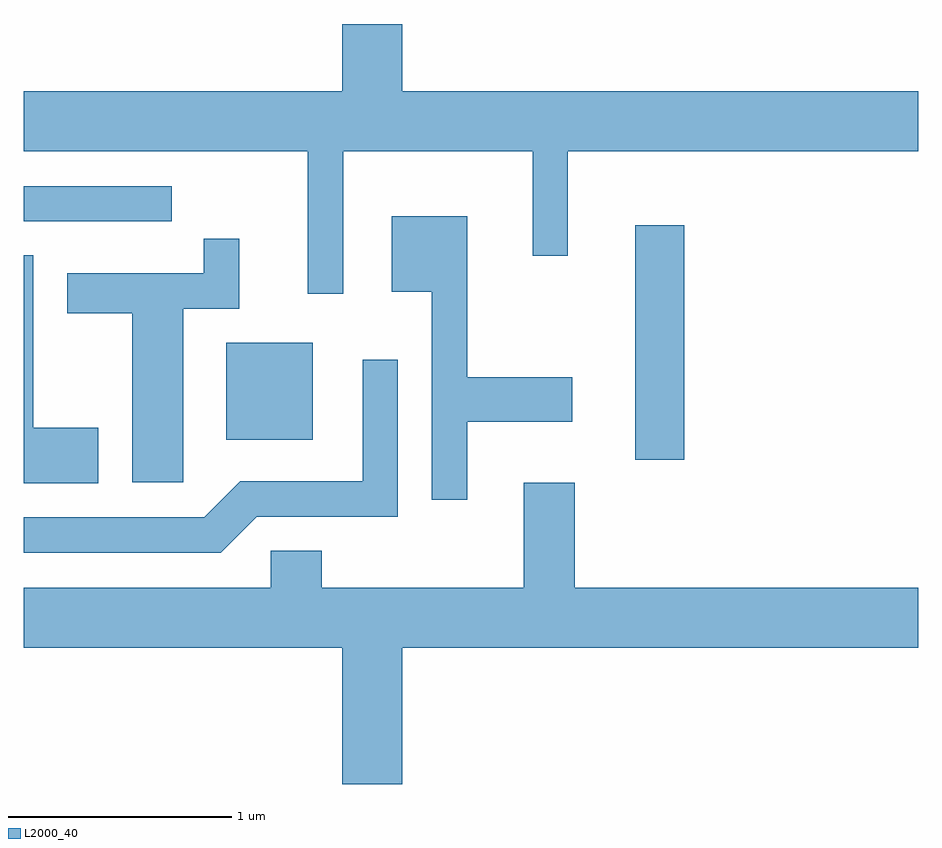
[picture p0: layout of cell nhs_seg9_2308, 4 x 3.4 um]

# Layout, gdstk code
import gdstk
lib = gdstk.Library(unit=1e-6, precision=1e-09)
def R(c, l, rs):  # rectangles x0, y0, x1, y1
    for r in rs: c.add(gdstk.rectangle(r[:2], r[2:], *l))
def P(c, l, *ps):  # polygons
    for p in ps: c.add(gdstk.Polygon(p, *l))
L2000_40 = (2000, 40)

nhs_seg9_2308 = lib.new_cell('nhs_seg9_2308')
R(nhs_seg9_2308, L2000_40, [(256.346,1946.036,256.564,1947.084), (254.516,1946.126,254.904,1946.559), (253.611,1947.101,254.273,1947.259)])
P(nhs_seg9_2308, L2000_40, [(255.039,1947.416),(255.886,1947.416),(255.886,1946.948),(256.044,1946.948),(256.044,1947.416),(257.611,1947.416),(257.611,1947.684),(255.304,1947.684),(255.304,1947.984),(255.036,1947.984),(255.036,1947.684),(253.611,1947.684),(253.611,1947.416),(254.881,1947.416),(254.881,1946.778),(255.039,1946.778)],
  [(255.594,1946.206),(256.064,1946.206),(256.064,1946.404),(255.594,1946.404),(255.594,1947.124),(255.256,1947.124),(255.256,1946.786),(255.436,1946.786),(255.436,1945.858),(255.594,1945.858)],
  [(254.324,1946.711),(254.574,1946.711),(254.574,1947.023),(254.416,1947.023),(254.416,1946.869),(253.806,1946.869),(253.806,1946.691),(254.096,1946.691),(254.096,1945.936),(254.324,1945.936)],
  [(253.944,1946.179),(253.654,1946.179),(253.654,1946.949),(253.611,1946.949),(253.611,1945.931),(253.944,1945.931)],
  [(254.652,1945.781),(255.284,1945.781),(255.284,1946.483),(255.126,1946.483),(255.126,1945.939),(254.579,1945.939),(254.419,1945.779),(253.611,1945.779),(253.611,1945.621),(254.492,1945.621)],
  [(255.304,1945.196),(257.611,1945.196),(257.611,1945.464),(256.074,1945.464),(256.074,1945.934),(255.846,1945.934),(255.846,1945.464),(254.944,1945.464),(254.944,1945.629),(254.716,1945.629),(254.716,1945.464),(253.611,1945.464),(253.611,1945.196),(255.036,1945.196),(255.036,1944.586),(255.304,1944.586)])

lib.write_gds('nhs_seg9_2308.gds')
